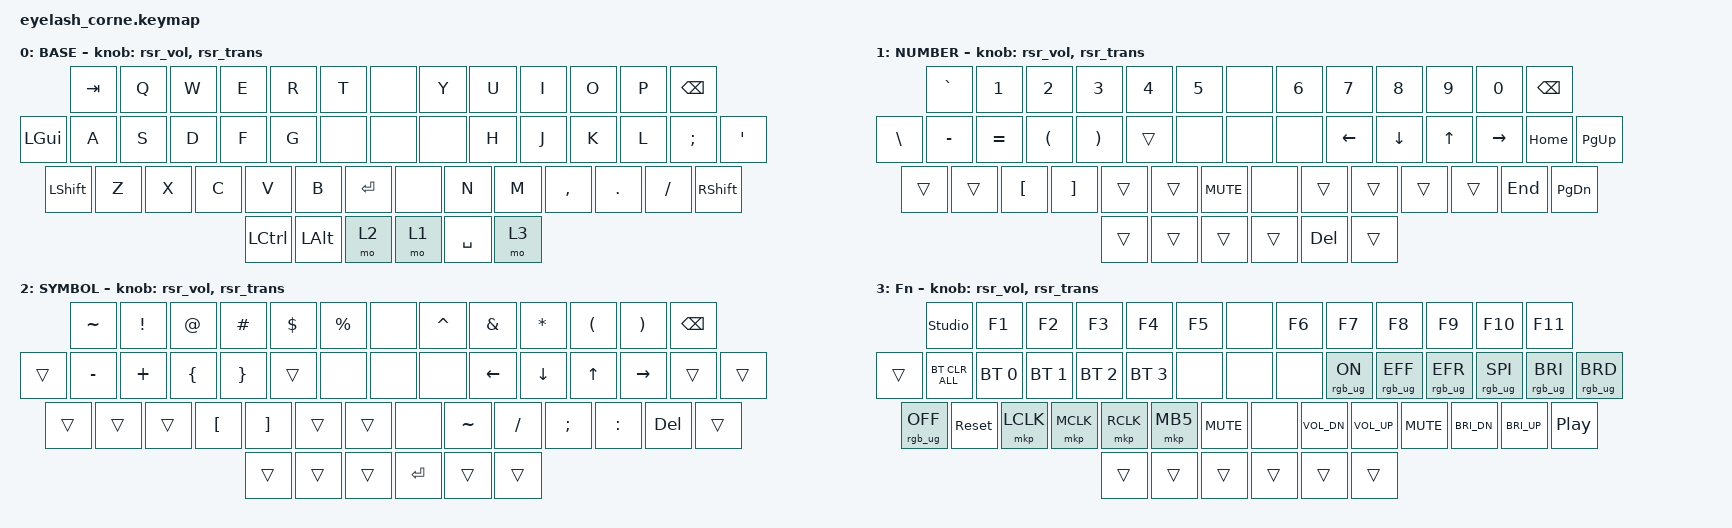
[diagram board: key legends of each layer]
#define ZMK_POINTING_DEFAULT_MOVE_VAL 1200  // 600
#define ZMK_POINTING_DEFAULT_SCRL_VAL 25   // 10

#include <input/processors.dtsi>
#include <zephyr/dt-bindings/input/input-event-codes.h>
#include <behaviors.dtsi>
#include <behaviors/runtime-sensor-rotate.dtsi>
#include <dt-bindings/zmk/bt.h>
#include <dt-bindings/zmk/keys.h>
#include <dt-bindings/zmk/outputs.h>
#include <dt-bindings/zmk/pointing.h>
#include <dt-bindings/zmk/rgb.h>

&soft_off { hold-time-ms = <2000>; };

/ {
    behaviors {
        rsr_vol: rsr_vol {
            compatible = "zmk,behavior-runtime-sensor-rotate";
            #sensor-binding-cells = <0>;
            tap-ms = <5>;
            cw-binding = <&kp C_VOL_UP>;
            ccw-binding = <&kp C_VOL_DN>;
        };

        rsr_trans: rsr_trans {
            compatible = "zmk,behavior-runtime-sensor-rotate";
            #sensor-binding-cells = <0>;
            tap-ms = <0>;
        };
    };

    combos {
        compatible = "zmk,combos";

        jk_escape {
            bindings = <&kp ESCAPE>;
            key-positions = <23 24>;
            layers = <0>;
            timeout-ms = <50>;
            require-prior-idle-ms = <0>;
        };

        m_comma_enter {
            bindings = <&kp RET>;
            key-positions = <37 38>;
            layers = <0>;
            timeout-ms = <50>;
            require-prior-idle-ms = <0>;
        };
    };

    keymap {
        compatible = "zmk,keymap";

        default_layer {
            /* Programmer Mac layout — see LAYOUT.md */
            display-name = "BASE";
            bindings = <
&kp TAB         &kp Q  &kp W  &kp E     &kp R  &kp T                               &none               &kp Y        &kp U  &kp I      &kp O    &kp P     &kp BSPC
&kp LGUI        &kp A  &kp S  &kp D     &kp F  &kp G                     &none   &none      &none   &kp H        &kp J  &kp K      &kp L    &kp SEMI  &kp SQT
&kp LEFT_SHIFT  &kp Z  &kp X  &kp C     &kp V  &kp B        &kp RET                &none               &kp N        &kp M  &kp COMMA  &kp DOT  &kp FSLH  &kp RIGHT_SHIFT
                              &kp LCTRL  &kp LALT  &mo 2                                               &mo 1  &kp SPACE  &mo 3
            >;

            sensor-bindings = <&rsr_vol &rsr_trans>;
        };

        lower_layer {
            display-name = "NUMBER";
            bindings = <
&kp GRAVE       &kp N1           &kp N2          &kp N3        &kp N4        &kp N5                                         &none                            &kp N6           &kp N7           &kp N8           &kp N9           &kp N0    &kp BSPC
&kp BSLH        &kp MINUS       &kp EQUAL       &kp LPAR      &kp RPAR      &trans                   &none           &none           &none            &kp LEFT         &kp DOWN         &kp UP           &kp RIGHT        &kp HOME  &kp PG_UP
&trans  &trans           &kp LBKT        &kp RBKT      &trans        &trans  &kp C_MUTE                    &none                            &trans           &trans           &trans           &trans           &kp END   &kp PG_DN
                                         &trans        &trans        &trans                                                                          &trans          &kp DEL          &trans
            >;

            sensor-bindings = <&rsr_vol &rsr_trans>;
        };

        raise_layer {
            display-name = "SYMBOL";
            bindings = <
&kp TILDE  &kp EXCL   &kp AT    &kp HASH  &kp DLLR  &kp PRCNT                            &none                            &kp CARET  &kp AMPS  &kp ASTRK  &kp LPAR  &kp RPAR  &kp BSPC
&trans  &kp MINUS  &kp PLUS   &kp LBRC  &kp RBRC  &trans               &none           &none           &none            &kp LEFT   &kp DOWN   &kp UP     &kp RIGHT &trans    &trans
&trans  &trans    &trans    &kp LBKT  &kp RBKT  &trans   &trans                    &none                            &kp TILDE  &kp FSLH  &kp SEMI   &kp COLON &kp DELETE  &trans
                                    &trans    &trans    &trans                                                             &kp RET    &trans    &trans
            >;

            sensor-bindings = <&rsr_vol &rsr_trans>;
        };

        layer_3 {
            display-name = "Fn";
            bindings = <
&studio_unlock  &kp F1      &kp F2     &kp F3       &kp F4     &kp F5                                  &none                            &kp F6       &kp F7     &kp F8       &kp F9      &kp F10          &kp F11
&trans          &bt BT_CLR_ALL &bt BT_SEL 0 &bt BT_SEL 1 &bt BT_SEL 2 &bt BT_SEL 3                                  &none           &none           &none            &rgb_ug RGB_ON &rgb_ug RGB_EFF &rgb_ug RGB_EFR &rgb_ug RGB_SPI &rgb_ug RGB_BRI &rgb_ug RGB_BRD
&rgb_ug RGB_OFF  &sys_reset  &mkp LCLK  &mkp MCLK    &mkp RCLK  &mkp MB5  &kp C_MUTE                    &none                            &kp C_VOL_DN &kp C_VOL_UP &kp C_MUTE &kp C_BRI_DN &kp C_BRI_UP &kp C_PLAY_PAUSE
                                       &trans       &trans     &trans                                                                   &trans       &trans     &trans
            >;

            sensor-bindings = <&rsr_vol &rsr_trans>;
        };
    };
};
